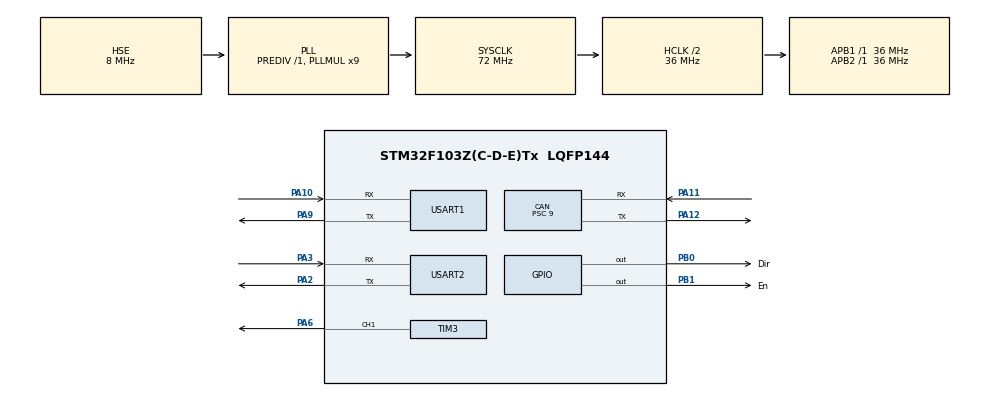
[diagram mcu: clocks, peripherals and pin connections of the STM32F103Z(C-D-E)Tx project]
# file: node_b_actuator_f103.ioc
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CAN.BS1=CAN_BS1_6TQ
CAN.CalculateBaudRate=500000
CAN.CalculateTimeBit=2000
CAN.CalculateTimeQuantum=250.0
CAN.Mode=CAN_MODE_NORMAL
CAN.Prescaler=9
FREERTOS.Tasks01=defaultTask,24,128,StartDefaultTask,Default,NULL,Dynamic,NULL,NULL;displayTask,8,256,StartDisplayTask,Default,NULL,Dynamic,NULL,NULL
FREERTOS.configCHECK_FOR_STACK_OVERFLOW=0
FREERTOS.configMAX_CO_ROUTINE_PRIORITIES=7
FREERTOS.configTOTAL_HEAP_SIZE=10240
FREERTOS.configUSE_MALLOC_FAILED_HOOK=1
FREERTOS.configUSE_NEWLIB_REENTRANT=1
Mcu.Family=STM32F1
Mcu.Name=STM32F103Z(C-D-E)Tx
Mcu.Package=LQFP144
NVIC.PriorityGroup=NVIC_PRIORITYGROUP_4
NVIC.TIM6_IRQn=true\:15\:0\:false\:false\:true\:false\:false\:true\:true
NVIC.TimeBase=TIM6_IRQn
NVIC.TimeBaseIP=TIM6
OSC_IN.Mode=HSE-External-Oscillator
OSC_IN.Signal=RCC_OSC_IN
OSC_OUT.Mode=HSE-External-Oscillator
OSC_OUT.Signal=RCC_OSC_OUT
PA10.Mode=Asynchronous
PA10.Signal=USART1_RX
PA11.Mode=CAN_Activate
PA11.Signal=CAN_RX
PA12.Mode=CAN_Activate
PA12.Signal=CAN_TX
PA13.Mode=Serial_Wire
PA13.Signal=SYS_JTMS-SWDIO
PA14.Mode=Serial_Wire
PA14.Signal=SYS_JTCK-SWCLK
PA2.Mode=Asynchronous
PA2.Signal=USART2_TX
PA3.Mode=Asynchronous
PA3.Signal=USART2_RX
PA6.Signal=S_TIM3_CH1
PA9.Mode=Asynchronous
PA9.Signal=USART1_TX
PB0.GPIO_Label=Dir
PB0.Signal=GPIO_Output
PB1.GPIO_Label=En
PB1.Signal=GPIO_Output
ProjectManager.HeapSize=0x200
ProjectManager.StackSize=0x400
ProjectManager.TargetToolchain=MDK-ARM V5.32
RCC.AHBCLKDivider=RCC_SYSCLK_DIV2
RCC.AHBFreq_Value=36000000
RCC.APB1Freq_Value=36000000
RCC.APB1TimFreq_Value=36000000
RCC.APB2Freq_Value=36000000
RCC.APB2TimFreq_Value=36000000
RCC.HCLKFreq_Value=36000000
RCC.PLLMUL=RCC_PLL_MUL9
RCC.PLLSourceVirtual=RCC_PLLSOURCE_HSE
RCC.SYSCLKFreq_VALUE=72000000
RCC.SYSCLKSource=RCC_SYSCLKSOURCE_PLLCLK
RCC.USBFreq_Value=72000000
SH.S_TIM3_CH1.0=TIM3_CH1,PWM Generation1 CH1
TIM3.AutoReloadPreload=TIM_AUTORELOAD_PRELOAD_ENABLE
TIM3.Channel-PWM\ Generation1\ CH1=TIM_CHANNEL_1
TIM3.Period=999
TIM3.Prescaler=71
TIM3.Pulse-PWM\ Generation1\ CH1=2
USART1.VirtualMode=VM_ASYNC
USART2.VirtualMode=VM_ASYNC
VP_FREERTOS_VS_CMSIS_V2.Mode=CMSIS_V2
VP_SYS_VS_tim6.Mode=TIM6
VP_TIM3_VS_ClockSourceINT.Mode=Internal
board=custom

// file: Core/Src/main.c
/* USER CODE BEGIN Header */
/**
  ******************************************************************************
  * @file           : main.c
  * @brief          : Main program body
  ******************************************************************************
  * @attention
  *
  * Copyright (c) 2026 STMicroelectronics.
  * All rights reserved.
  *
  * This software is licensed under terms that can be found in the LICENSE file
  * in the root directory of this software component.
  * If no LICENSE file comes with this software, it is provided AS-IS.
  *
  ******************************************************************************
  */
/* USER CODE END Header */
#include "main.h"
#include "cmsis_os.h"
#include "can.h"
#include "tim.h"
#include "usart.h"
#include "gpio.h"

void SystemClock_Config(void);
void MX_FREERTOS_Init(void);

int main(void)
{

  /* MCU Configuration--------------------------------------------------------*/

  /* Reset of all peripherals, Initializes the Flash interface and the Systick. */
  HAL_Init();

  /* Configure the system clock */
  SystemClock_Config();

  /* Initialize all configured peripherals */
  MX_GPIO_Init();
  MX_CAN_Init();
  MX_TIM3_Init();
  MX_USART1_UART_Init();
  MX_USART2_UART_Init();      /* USART2 接电机（ZDT X42S） */

  /* Init scheduler */
  osKernelInitialize();

  /* Call init function for freertos objects (in cmsis_os2.c) */
  MX_FREERTOS_Init();

  /* Start scheduler */
  osKernelStart();

  /* We should never get here as control is now taken by the scheduler */

  /* Infinite loop */
  while (1)
  {

  }
}

void SystemClock_Config(void)
{
  RCC_OscInitTypeDef RCC_OscInitStruct = {0};
  RCC_ClkInitTypeDef RCC_ClkInitStruct = {0};

  /** Initializes the RCC Oscillators according to the specified parameters
  * in the RCC_OscInitTypeDef structure.
  */
  RCC_OscInitStruct.OscillatorType = RCC_OSCILLATORTYPE_HSE;
  RCC_OscInitStruct.HSEState = RCC_HSE_ON;
  RCC_OscInitStruct.HSEPredivValue = RCC_HSE_PREDIV_DIV1;
  RCC_OscInitStruct.HSIState = RCC_HSI_ON;
  RCC_OscInitStruct.PLL.PLLState = RCC_PLL_ON;
  RCC_OscInitStruct.PLL.PLLSource = RCC_PLLSOURCE_HSE;
  RCC_OscInitStruct.PLL.PLLMUL = RCC_PLL_MUL9;
  if (HAL_RCC_OscConfig(&RCC_OscInitStruct) != HAL_OK)
  {
    Error_Handler();
  }

  /** Initializes the CPU, AHB and APB buses clocks
  */
  RCC_ClkInitStruct.ClockType = RCC_CLOCKTYPE_HCLK|RCC_CLOCKTYPE_SYSCLK
                              |RCC_CLOCKTYPE_PCLK1|RCC_CLOCKTYPE_PCLK2;
  RCC_ClkInitStruct.SYSCLKSource = RCC_SYSCLKSOURCE_PLLCLK;
  RCC_ClkInitStruct.AHBCLKDivider = RCC_SYSCLK_DIV2;
  RCC_ClkInitStruct.APB1CLKDivider = RCC_HCLK_DIV1;
  RCC_ClkInitStruct.APB2CLKDivider = RCC_HCLK_DIV1;

  if (HAL_RCC_ClockConfig(&RCC_ClkInitStruct, FLASH_LATENCY_2) != HAL_OK)
  {
    Error_Handler();
  }
}

void HAL_TIM_PeriodElapsedCallback(TIM_HandleTypeDef *htim)
{
  if (htim->Instance == TIM6) {
    HAL_IncTick();
  }
}

void Error_Handler(void)
{
  __disable_irq();
  while (1)
  {
  }
}

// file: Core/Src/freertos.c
/* USER CODE BEGIN Header */
/**
  ******************************************************************************
  * File Name          : freertos.c
  * Description        : Code for freertos applications
  ******************************************************************************
  * @attention
  *
  * Copyright (c) 2026 STMicroelectronics.
  * All rights reserved.
  *
  * This software is licensed under terms that can be found in the LICENSE file
  * in the root directory of this software component.
  * If no LICENSE file comes with this software, it is provided AS-IS.
  *
  ******************************************************************************
  */
/* USER CODE END Header */

#include "FreeRTOS.h"
#include "task.h"
#include "main.h"
#include "cmsis_os.h"

/* USER CODE BEGIN Includes */
#include "app_can_selftest.h"
#include "app_can.h"
#include "app_motor.h"
#include "oled.h"
#include "usart.h"
#include <string.h>
/* USER CODE END Includes */

/* USER CODE BEGIN Variables */
osThreadId_t canSelfTestTaskHandle;
const osThreadAttr_t canSelfTestTask_attributes = {
  .name = "canSelfTestTask",
  .stack_size = 256 * 4,
  .priority = (osPriority_t) osPriorityNormal,
};
/* USER CODE END Variables */
/* Definitions for defaultTask */
osThreadId_t defaultTaskHandle;
const osThreadAttr_t defaultTask_attributes = {
  .name = "defaultTask",
  .stack_size = 128 * 4,
  .priority = (osPriority_t) osPriorityNormal,
};
/* Definitions for displayTask */
osThreadId_t displayTaskHandle;
const osThreadAttr_t displayTask_attributes = {
  .name = "displayTask",
  .stack_size = 512 * 4,
  .priority = (osPriority_t) osPriorityLow,
};
osThreadId_t canTxTaskHandle;
const osThreadAttr_t canTxTask_attributes = {
  .name = "canTxTask",
  .stack_size = 256 * 4,
  .priority = (osPriority_t) osPriorityNormal,
};

osThreadId_t canRxTaskHandle;
const osThreadAttr_t canRxTask_attributes = {
  .name = "canRxTask",
  .stack_size = 256 * 4,
  .priority = (osPriority_t) osPriorityAboveNormal,
};

/* 电机任务：把 CAN 命令换算成转速下发给 X42S，再把真实反馈读回来 */
osThreadId_t motorTaskHandle;
const osThreadAttr_t motorTask_attributes = {
  .name = "motorTask",
  .stack_size = 256 * 4,
  .priority = (osPriority_t) osPriorityLow,
};

void StartDefaultTask(void *argument);
void StartDisplayTask(void *argument);

void MX_FREERTOS_Init(void); /* (MISRA C 2004 rule 8.1) */

/* Hook prototypes */
void vApplicationStackOverflowHook(xTaskHandle xTask, signed char *pcTaskName);
void vApplicationMallocFailedHook(void);

/* USER CODE BEGIN 5 */
void vApplicationStackOverflowHook(xTaskHandle xTask, signed char *pcTaskName)
{
   (void)xTask;
   (void)pcTaskName;

   /* 栈已经被破坏，这里不要调用 printf、malloc 等函数。 */
   taskDISABLE_INTERRUPTS();
   for (;;) {
   }
}

void vApplicationMallocFailedHook(void)
{
   /* vApplicationMallocFailedHook() will only be called if
   configUSE_MALLOC_FAILED_HOOK is set to 1 in FreeRTOSConfig.h. It is a hook
   function that will get called if a call to pvPortMalloc() fails.
   pvPortMalloc() is called internally by the kernel whenever a task, queue,
   timer or semaphore is created. It is also called by various parts of the
   demo application. If heap_1.c or heap_2.c are used, then the size of the
   heap available to pvPortMalloc() is defined by configTOTAL_HEAP_SIZE in
   FreeRTOSConfig.h, and the xPortGetFreeHeapSize() API function can be used
   to query the size of free heap space that remains (although it does not
   provide information on how the remaining heap might be fragmented). */
}
/* USER CODE END 5 */

void MX_FREERTOS_Init(void) {
  /* USER CODE BEGIN Init */
	AppCan_Init();
  /* USER CODE END Init */

  /* Create the thread(s) */
  /* creation of defaultTask */
  defaultTaskHandle = osThreadNew(StartDefaultTask, NULL, &defaultTask_attributes);

  /* creation of displayTask */
  displayTaskHandle = osThreadNew(StartDisplayTask, NULL, &displayTask_attributes);

  /* USER CODE BEGIN RTOS_THREADS */
  //canSelfTestTaskHandle = osThreadNew(CanSelfTest_Task, NULL, &canSelfTestTask_attributes);
  /* USER CODE END RTOS_THREADS */

  /* USER CODE BEGIN RTOS_EVENTS */
  canTxTaskHandle = osThreadNew(AppCan_TaskCanTx, NULL, &canTxTask_attributes);
	canRxTaskHandle = osThreadNew(AppCan_TaskCanRx, NULL, &canRxTask_attributes);
	motorTaskHandle = osThreadNew(AppMotor_Task, NULL, &motorTask_attributes);
  /* USER CODE END RTOS_EVENTS */

}

void StartDefaultTask(void *argument)
{
  for(;;)
  {
    osDelay(1);
  }
}

/* 临时诊断用：直接把一行字打到串口上 */
static void app_display_print(const char *text)
{
  (void)HAL_UART_Transmit(&huart1, (uint8_t *)text,
                          (uint16_t)strlen(text), 100U);
}

/* 模式名字固定 7 个字符宽，避免 "STANDBY" 换成 "RUN" 时屏上留下残字 */
static const char *app_display_mode_text(uint8_t mode)
{
  switch (mode) {
  case 0:  return "OFF    ";
  case 1:  return "STANDBY";
  case 2:  return "RUN    ";
  case 3:  return "FAULT  ";
  default: return "UNKNOWN";
  }
}

void StartDisplayTask(void *argument)
{
  /* USER CODE BEGIN StartDisplayTask */
  uint8_t  last_mode = 0xFFU;
  uint8_t  last_fault = 0xFFU;
  uint16_t last_out = 0xFFFFU;
  uint16_t last_cur = 0xFFFFU;
  int16_t  last_temp = 0x7FFF;

  (void)argument;

  /* 开机自检：先探测 OLED 有没有应答 */
  if (OLED_Probe(0x78U) != 0U) {
    app_display_print("OLED probe: ACK at 0x78 (OK)\r\n");
  } else if (OLED_Probe(0x7AU) != 0U) {
    app_display_print("OLED probe: ACK at 0x7A, change 0x78 to 0x7A in oled.c\r\n");
  } else {
    app_display_print("OLED probe: NO ACK at 0x78/0x7A, check VCC/GND/SCL/SDA\r\n");
  }

  OLED_Init();     /* 内部包含了上电延时和 I2C 引脚初始化 */

  /* 开机自检：整屏点亮 0.3 秒。
   * 上电时能看见整屏发白 -> 模块、供电、接线、时序全都是好的
   * 连白屏都看不见     -> 是硬件侧的问题，不用再折腾代码 */
  OLED_Fill(0xFFU);
  osDelay(300U);

  OLED_Clear();

  for(;;)
  {
    uint8_t  mode  = AppCan_GetActuatorMode();
    uint8_t  fault = AppCan_GetActuatorFault();
    uint16_t out   = AppCan_GetActuatorOutputX10();
    uint16_t cur   = AppCan_GetActuatorCurrentX100();
    int16_t  temp  = AppCan_GetActuatorTempC();

    /* 软件 I2C 刷一次屏要好几毫秒，参数没变就什么都不做 */
    if ((mode != last_mode) || (fault != last_fault) || (out != last_out) ||
        (cur != last_cur) || (temp != last_temp))
    {
      last_mode  = mode;
      last_fault = fault;
      last_out   = out;
      last_cur   = cur;
      last_temp  = temp;

      /* 第1行：这是哪块板子 */
      OLED_ShowString(1, 1, "ACT STM32F103");

      /* 第2行：工作模式 + 故障标志位 */
      OLED_ShowString(2, 1, "MD:");
      OLED_ShowString(2, 4, (char *)app_display_mode_text(mode));
      OLED_ShowString(2, 12, "F:");
      OLED_ShowHexNum(2, 14, fault, 2);

      /* 第3行：实际输出百分比，显示成 30.0% */
      OLED_ShowString(3, 1, "OUT:");
      OLED_ShowNum(3, 5, out / 10U, 3);
      OLED_ShowChar(3, 8, '.');
      OLED_ShowNum(3, 9, out % 10U, 1);
      OLED_ShowChar(3, 10, '%');

      /* 第4行：温度 + 电流，显示成 T:45C I:0.50A */
      OLED_ShowString(4, 1, "T:");
      OLED_ShowSignedNum(4, 3, temp, 2);
      OLED_ShowChar(4, 6, 'C');
      OLED_ShowString(4, 8, "I:");
      OLED_ShowNum(4, 10, cur / 100U, 1);
      OLED_ShowChar(4, 11, '.');
      OLED_ShowNum(4, 12, cur % 100U, 2);
      OLED_ShowChar(4, 14, 'A');
    }

    osDelay(200);
  }
  /* USER CODE END StartDisplayTask */
}
